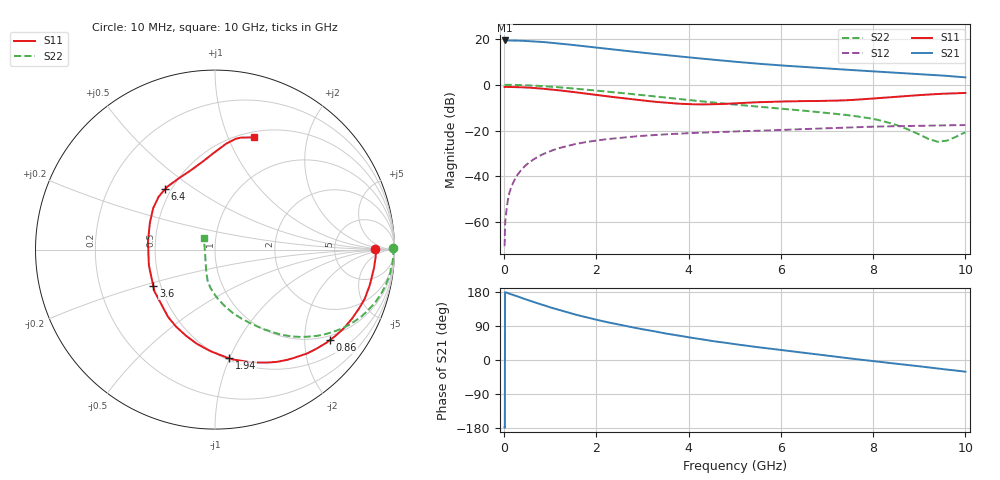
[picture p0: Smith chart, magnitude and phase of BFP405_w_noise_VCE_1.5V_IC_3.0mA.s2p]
! Infineon Technologies  Discrete & RF Semiconductors
! BFP405
! VCE =  1.5 V,  IC =  3.0 mA
! Common Emitter S-Parameters:  Jan 2016
# GHz  S  MA  R  50
!  f  S11  S21  S12  S22
! GHz  MAG  ANG  MAG  ANG  MAG  ANG  MAG  ANG
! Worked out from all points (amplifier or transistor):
!   233 points, 10 MHz to 10 GHz, reference 50 ohm
!   highest |S21| = 19.3 dB at 10 MHz (marker M1)
!   |S21| within 3 dB of that: start of sweep to 1.946 GHz
!   unconditionally stable (mu >= 1): 3.924 GHz to end of sweep
!   at 200 MHz: K = 0.06, MSG = 30.9 dB, |S12| = -42.6 dB
!   at 1.74 GHz: K = 0.41, MSG = 21.0 dB, |S12| = -25.2 dB
!   at 10 GHz: K = 1.58, MAG = 5.9 dB, |S12| = -17.6 dB
!   lowest NFmin = 0.98 dB at 900 MHz
!   S11 on the Smith chart (normalised r, x): 10 MHz: 17, +1; 860 MHz: 0.88, -2.64; 1.94 GHz: 0.52, -1.00; 3.6 GHz: 0.46, -0.22; 6.4 GHz: 0.46, +0.39; 10 GHz: 0.56, +1.24
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0.01  0.8918 0.2  9.242 -177.2  0.0003 101.7  0.9925 0.6
0.02  0.8972 -0.8  9.206 178.7  0.0009 96.6  0.992 -0.2
0.075  0.8947 -3.4  9.196 176.8  0.0028 87.7  0.994 -1.7
0.155  0.8917 -6.8  9.205 173.5  0.0059 87.0  0.992 -3.6
0.26  0.8858 -11.7  9.21 168.9  0.0098 83.6  0.9848 -6.2
0.5  0.8669 -22.3  9 158.9  0.0186 78.6  0.971 -11.8
0.86  0.8153 -38.1  8.506 144.3  0.031 70.3  0.929 -19.9
1.22  0.7494 -53.3  7.881 130.9  0.0421 62.7  0.8746 -27.2
1.68  0.6588 -72.2  7.024 115.6  0.0538 54.0  0.7971 -35.3
1.94  0.6103 -82.6  6.553 108.0  0.0595 49.8  0.754 -39.3
2.2  0.5646 -93.0  6.118 100.7  0.0644 45.9  0.7122 -42.9
2.62  0.5025 -109.7  5.488 90.1  0.0713 40.3  0.6481 -48.2
3  0.4569 -125.0  5.009 81.1  0.0768 35.8  0.593 -52.7
3.4  0.4145 -141.1  4.55 72.4  0.0815 31.4  0.5374 -57.0
3.6  0.3993 -149.4  4.345 68.1  0.0837 29.4  0.5115 -59.2
4.5  0.3761 173.4  3.541 50.3  0.0919 21.5  0.4116 -69.0
5.1  0.3958 155.1  3.113 40.2  0.0963 17.1  0.3614 -74.9
6.4  0.4371 129.5  2.483 20.5  0.1065 9.5  0.2771 -86.2
6.8  0.4412 121.4  2.332 14.5  0.1102 7.2  0.2535 -89.8
8.4  0.5367 91.0  1.842 -8.5  0.1241 -4.3  0.1426 -109.2
9.4  0.6274 79.5  1.611 -22.4  0.1292 -11.1  0.0569 -169.5
10  0.6613 71.0  1.445 -30.8  0.1316 -14.6  0.0921 134.0
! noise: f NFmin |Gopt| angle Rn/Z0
0.9  0.98  0.49  14  0.37
1.8  1.3  0.39  24  0.34
2.4  1.48  0.33  33  0.33
3  1.51  0.31  50  0.31
4  1.71  0.19  75  0.25
5  2.06  0.14  114  0.21
